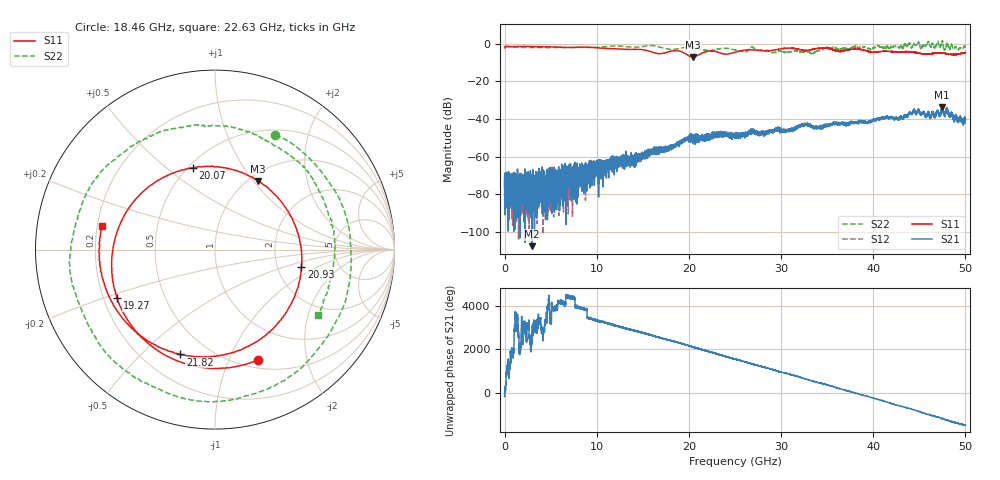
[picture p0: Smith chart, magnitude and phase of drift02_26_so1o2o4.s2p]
!Created with skrf (http://scikit-rf.org).
# Hz S RI R 50.0
!freq ReS11 ImS11 ReS21 ImS21 ReS12 ImS12 ReS22 ImS22
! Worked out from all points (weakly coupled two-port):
!   10001 points, 300 kHz to 50 GHz, reference 50 ohm
!   highest |S21| = -33.63 dB at 47.48 GHz (marker M1); lowest = -107.7 dB at 2.96 GHz (marker M2)
!   lowest |S11| = -6.9 dB at 20.41 GHz (marker M3), VSWR 2.64, Z = 54.8 + j52.7 ohm
!   |S11| at or under -10 dB: nowhere
!   |S22| runs from -5.4 to 1.8 dB; largest |S21 - S12| = 0.0029
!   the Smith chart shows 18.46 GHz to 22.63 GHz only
!   S11 on the Smith chart (normalised r, x): 18.46 GHz: 0.59, -1.29; 19.27 GHz: 0.26, -0.22; 20.07 GHz: 0.53, +0.62; 20.93 GHz: 2.73, -0.69; 21.82 GHz: 0.35, -0.66; 22.63 GHz: 0.22, +0.10
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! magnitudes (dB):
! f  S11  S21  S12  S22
! 300 kHz  -2.1  -73.0  -68.9  -1.3
! 255.3 MHz  -1.4  -77.5  -75.0  -1.4
! 2.96 GHz  -1.4  -107.7  -78.7  -1.9
! 3.86 GHz  -1.5  -74.1  -70.0  -1.9
! 5.515 GHz  -1.7  -69.2  -71.0  -2.0
! 8.335 GHz  -1.7  -70.7  -67.2  -1.9
! 16.67 GHz  -5.2  -56.2  -55.5  -1.5
! 18.46 GHz  -3.6  -54.7  -54.3  -2.8
! 19.27 GHz  -4.3  -51.0  -52.1  -2.1
! 20.07 GHz  -6.5  -51.5  -49.7  -1.5
! 20.41 GHz  -6.9  -49.3  -49.2  -1.8
! 20.93 GHz  -6.2  -52.1  -49.0  -2.2
! 21.82 GHz  -4.2  -49.8  -49.4  -3.5
! 22.63 GHz  -3.8  -50.5  -48.5  -3.3
! 25 GHz  -4.5  -48.2  -48.7  -3.2
! 26.11 GHz  -3.3  -47.3  -47.9  -4.3
! 26.9 GHz  -3.2  -45.5  -46.2  -1.7
! 33.34 GHz  -3.0  -44.1  -43.6  -5.2
! 34.89 GHz  -2.2  -44.0  -43.9  -2.3
! 41.67 GHz  -4.0  -39.6  -39.4  -2.0
! 47.48 GHz  -4.9  -33.6  -34.6  1.1
! 50 GHz  -4.7  -39.6  -40.6  -1.5
